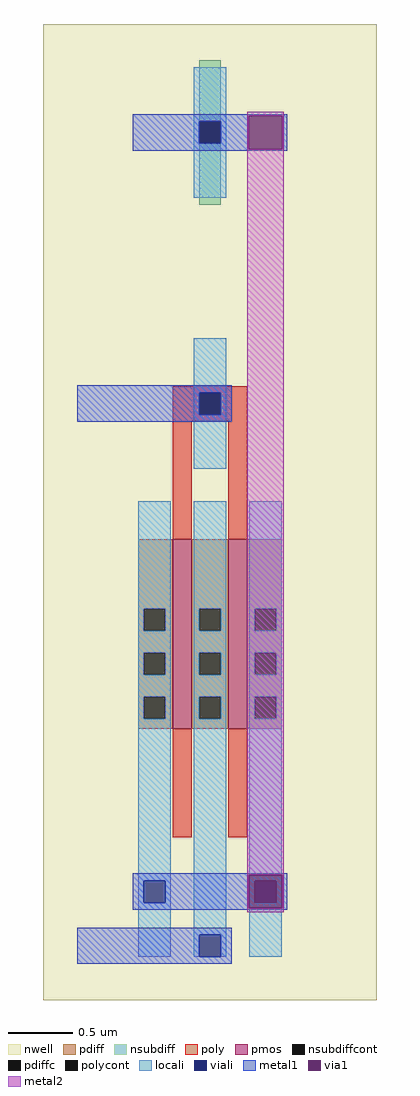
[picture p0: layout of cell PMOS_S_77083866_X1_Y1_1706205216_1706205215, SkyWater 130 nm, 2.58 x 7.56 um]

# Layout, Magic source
magic
tech sky130A
magscale 1 2
<< nwell >>
rect 0 0 516 1512
<< pmos >>
rect 200 420 230 714
rect 286 420 316 714
<< pdiff >>
rect 147 606 200 714
rect 147 572 155 606
rect 189 572 200 606
rect 147 538 200 572
rect 147 504 155 538
rect 189 504 200 538
rect 147 470 200 504
rect 147 436 155 470
rect 189 436 200 470
rect 147 420 200 436
rect 230 606 286 714
rect 230 572 241 606
rect 275 572 286 606
rect 230 538 286 572
rect 230 504 241 538
rect 275 504 286 538
rect 230 470 286 504
rect 230 436 241 470
rect 275 436 286 470
rect 230 420 286 436
rect 316 606 369 714
rect 316 572 327 606
rect 361 572 369 606
rect 316 538 369 572
rect 316 504 327 538
rect 361 504 369 538
rect 316 470 369 504
rect 316 436 327 470
rect 361 436 369 470
rect 316 420 369 436
<< pdiffc >>
rect 155 572 189 606
rect 155 504 189 538
rect 155 436 189 470
rect 241 572 275 606
rect 241 504 275 538
rect 241 436 275 470
rect 327 572 361 606
rect 327 504 361 538
rect 327 436 361 470
<< nsubdiff >>
rect 241 1361 275 1456
rect 241 1232 275 1327
<< nsubdiffcont >>
rect 241 1327 275 1361
<< poly >>
rect 200 941 316 951
rect 200 907 241 941
rect 275 907 316 941
rect 200 897 316 907
rect 200 714 230 897
rect 286 714 316 897
rect 200 252 230 420
rect 286 252 316 420
<< polycont >>
rect 241 907 275 941
<< locali >>
rect 233 1361 283 1445
rect 233 1327 241 1361
rect 275 1327 283 1361
rect 233 1243 283 1327
rect 233 941 283 1025
rect 233 907 241 941
rect 275 907 283 941
rect 233 823 283 907
rect 147 606 197 773
rect 147 572 155 606
rect 189 572 197 606
rect 147 538 197 572
rect 147 504 155 538
rect 189 504 197 538
rect 147 470 197 504
rect 147 436 155 470
rect 189 436 197 470
rect 147 185 197 436
rect 147 151 155 185
rect 189 151 197 185
rect 147 67 197 151
rect 233 606 283 773
rect 233 572 241 606
rect 275 572 283 606
rect 233 538 283 572
rect 233 504 241 538
rect 275 504 283 538
rect 233 470 283 504
rect 233 436 241 470
rect 275 436 283 470
rect 233 101 283 436
rect 233 67 241 101
rect 275 67 283 101
rect 319 606 369 773
rect 319 572 327 606
rect 361 572 369 606
rect 319 538 369 572
rect 319 504 327 538
rect 361 504 369 538
rect 319 470 369 504
rect 319 436 327 470
rect 361 436 369 470
rect 319 185 369 436
rect 319 151 327 185
rect 361 151 369 185
rect 319 67 369 151
<< viali >>
rect 241 1327 275 1361
rect 241 907 275 941
rect 155 151 189 185
rect 241 67 275 101
rect 327 151 361 185
<< metal1 >>
rect 138 1370 378 1372
rect 138 1361 318 1370
rect 138 1327 241 1361
rect 275 1327 318 1361
rect 138 1318 318 1327
rect 370 1318 378 1370
rect 138 1316 378 1318
rect 52 941 292 952
rect 52 907 241 941
rect 275 907 292 941
rect 52 896 292 907
rect 138 194 378 196
rect 138 185 318 194
rect 138 151 155 185
rect 189 151 318 185
rect 138 142 318 151
rect 370 142 378 194
rect 138 140 378 142
rect 52 101 292 112
rect 52 67 241 101
rect 275 67 292 101
rect 52 56 292 67
<< via1 >>
rect 318 1318 370 1370
rect 318 185 370 194
rect 318 151 327 185
rect 327 151 361 185
rect 361 151 370 185
rect 318 142 370 151
<< metal2 >>
rect 316 1370 372 1376
rect 316 1318 318 1370
rect 370 1318 372 1370
rect 316 194 372 1318
rect 316 142 318 194
rect 370 142 372 194
rect 316 136 372 142
<< end >>
